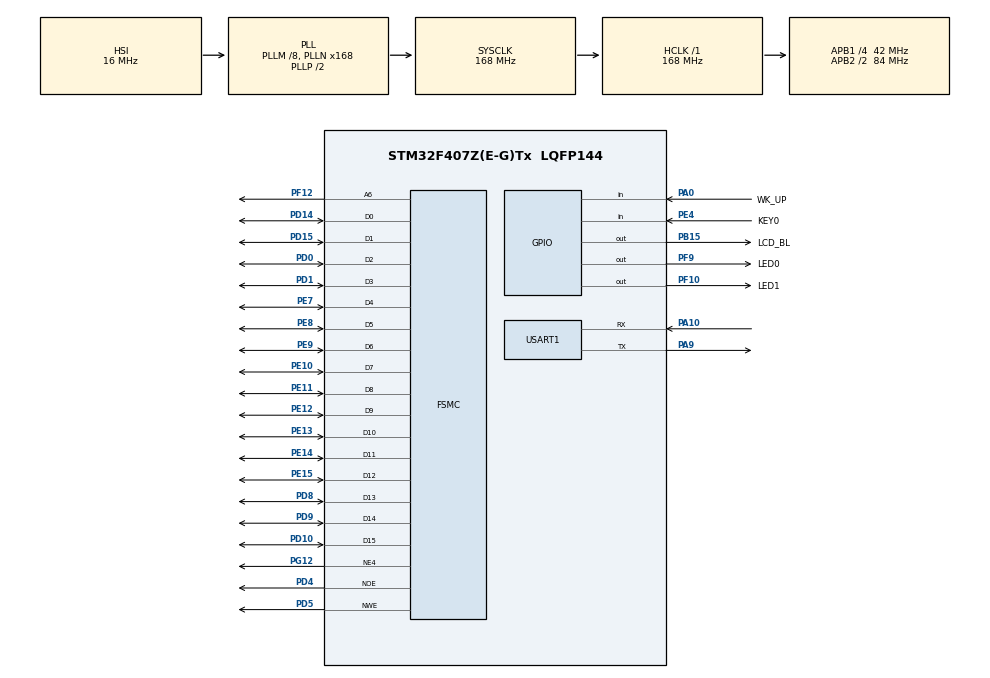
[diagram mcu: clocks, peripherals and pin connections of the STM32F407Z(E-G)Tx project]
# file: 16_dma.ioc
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Dma.Request0=USART1_TX
Dma.USART1_TX.0.Direction=DMA_MEMORY_TO_PERIPH
Dma.USART1_TX.0.FIFOMode=DMA_FIFOMODE_DISABLE
Dma.USART1_TX.0.Instance=DMA2_Stream7
Dma.USART1_TX.0.MemDataAlignment=DMA_MDATAALIGN_BYTE
Dma.USART1_TX.0.MemInc=DMA_MINC_ENABLE
Dma.USART1_TX.0.Mode=DMA_NORMAL
Dma.USART1_TX.0.PeriphDataAlignment=DMA_PDATAALIGN_BYTE
Dma.USART1_TX.0.PeriphInc=DMA_PINC_DISABLE
Dma.USART1_TX.0.Priority=DMA_PRIORITY_MEDIUM
FSMC.AddressSetupTime1=15
FSMC.BusTurnAroundDuration1=0
FSMC.DataSetupTime1=60
FSMC.ExtendedAddressSetupTime1=9
FSMC.ExtendedBusTurnAroundDuration1=0
FSMC.ExtendedDataSetupTime1=9
FSMC.ExtendedMode1=FSMC_EXTENDED_MODE_ENABLE
Mcu.Family=STM32F4
Mcu.Name=STM32F407Z(E-G)Tx
Mcu.Package=LQFP144
NVIC.DMA2_Stream7_IRQn=true\:0\:0\:false\:false\:true\:false\:true\:true
NVIC.PriorityGroup=NVIC_PRIORITYGROUP_2
NVIC.USART1_IRQn=true\:2\:2\:true\:false\:true\:true\:true\:true
PA0-WKUP.GPIO_Label=WK_UP
PA0-WKUP.GPIO_PuPd=GPIO_PULLDOWN
PA0-WKUP.Signal=GPIO_Input
PA10.GPIO_PuPd=GPIO_PULLUP
PA10.Mode=Asynchronous
PA10.Signal=USART1_RX
PA13.Mode=Serial_Wire
PA13.Signal=SYS_JTMS-SWDIO
PA14.Mode=Serial_Wire
PA14.Signal=SYS_JTCK-SWCLK
PA9.GPIO_PuPd=GPIO_PULLUP
PA9.Mode=Asynchronous
PA9.Signal=USART1_TX
PB15.GPIO_Label=LCD_BL
PB15.GPIO_PuPd=GPIO_PULLUP
PB15.GPIO_Speed=GPIO_SPEED_FREQ_VERY_HIGH
PB15.PinState=GPIO_PIN_SET
PB15.Signal=GPIO_Output
PC14-OSC32_IN.Mode=LSE-External-Oscillator
PC14-OSC32_IN.Signal=RCC_OSC32_IN
PC15-OSC32_OUT.Mode=LSE-External-Oscillator
PC15-OSC32_OUT.Signal=RCC_OSC32_OUT
PD0.Signal=FSMC_D2_DA2
PD1.Signal=FSMC_D3_DA3
PD10.Signal=FSMC_D15_DA15
PD14.Signal=FSMC_D0_DA0
PD15.Signal=FSMC_D1_DA1
PD4.Signal=FSMC_NOE
PD5.Signal=FSMC_NWE
PD8.Signal=FSMC_D13_DA13
PD9.Signal=FSMC_D14_DA14
PE10.Signal=FSMC_D7_DA7
PE11.Signal=FSMC_D8_DA8
PE12.Signal=FSMC_D9_DA9
PE13.Signal=FSMC_D10_DA10
PE14.Signal=FSMC_D11_DA11
PE15.Signal=FSMC_D12_DA12
PE4.GPIO_Label=KEY0
PE4.GPIO_PuPd=GPIO_PULLDOWN
PE4.Signal=GPIO_Input
PE7.Signal=FSMC_D4_DA4
PE8.Signal=FSMC_D5_DA5
PE9.Signal=FSMC_D6_DA6
PF10.GPIO_Label=LED1
PF10.GPIO_PuPd=GPIO_PULLDOWN
PF10.GPIO_Speed=GPIO_SPEED_FREQ_VERY_HIGH
PF10.PinState=GPIO_PIN_SET
PF10.Signal=GPIO_Output
PF12.Signal=FSMC_A6
PF9.GPIO_Label=LED0
PF9.GPIO_PuPd=GPIO_PULLDOWN
PF9.GPIO_Speed=GPIO_SPEED_FREQ_VERY_HIGH
PF9.PinState=GPIO_PIN_SET
PF9.Signal=GPIO_Output
PG12.Mode=NorPsramChipSelect4_1
PG12.Signal=FSMC_NE4
PH0-OSC_IN.Mode=HSE-External-Oscillator
PH0-OSC_IN.Signal=RCC_OSC_IN
PH1-OSC_OUT.Mode=HSE-External-Oscillator
PH1-OSC_OUT.Signal=RCC_OSC_OUT
ProjectManager.HeapSize=0x200
ProjectManager.StackSize=0x400
ProjectManager.TargetToolchain=STM32CubeIDE
RCC.48MHZClocksFreq_Value=84000000
RCC.AHBFreq_Value=168000000
RCC.APB1CLKDivider=RCC_HCLK_DIV4
RCC.APB1Freq_Value=42000000
RCC.APB1TimFreq_Value=84000000
RCC.APB2CLKDivider=RCC_HCLK_DIV2
RCC.APB2Freq_Value=84000000
RCC.APB2TimFreq_Value=168000000
RCC.CortexFreq_Value=168000000
RCC.HCLKFreq_Value=168000000
RCC.HSE_VALUE=25000000
RCC.HSI_VALUE=16000000
RCC.PLLM=8
RCC.PLLN=168
RCC.SYSCLKFreq_VALUE=168000000
RCC.SYSCLKSource=RCC_SYSCLKSOURCE_PLLCLK
RCC.VCOOutputFreq_Value=336000000
SH.FSMC_A6.0=FSMC_A6,A6_1
SH.FSMC_D0_DA0.0=FSMC_D0,16b-d1
SH.FSMC_D10_DA10.0=FSMC_D10,16b-d1
SH.FSMC_D11_DA11.0=FSMC_D11,16b-d1
SH.FSMC_D12_DA12.0=FSMC_D12,16b-d1
SH.FSMC_D13_DA13.0=FSMC_D13,16b-d1
SH.FSMC_D14_DA14.0=FSMC_D14,16b-d1
SH.FSMC_D15_DA15.0=FSMC_D15,16b-d1
SH.FSMC_D1_DA1.0=FSMC_D1,16b-d1
SH.FSMC_D2_DA2.0=FSMC_D2,16b-d1
SH.FSMC_D3_DA3.0=FSMC_D3,16b-d1
SH.FSMC_D4_DA4.0=FSMC_D4,16b-d1
SH.FSMC_D5_DA5.0=FSMC_D5,16b-d1
SH.FSMC_D6_DA6.0=FSMC_D6,16b-d1
SH.FSMC_D7_DA7.0=FSMC_D7,16b-d1
SH.FSMC_D8_DA8.0=FSMC_D8,16b-d1
SH.FSMC_D9_DA9.0=FSMC_D9,16b-d1
SH.FSMC_NOE.0=FSMC_NOE,Lcd1
SH.FSMC_NWE.0=FSMC_NWE,Lcd1
USART1.VirtualMode=VM_ASYNC
board=custom

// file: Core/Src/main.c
/* USER CODE BEGIN Header */
/**
 ****************************************************************************************************
 * @file        main.c
 * @author      ALIENTEK
 * @brief       DMA code
 * @license     Copyright (C) 2020-2032, ALIENTEK
 ****************************************************************************************************
 * @attention
 *
 * platform     : ALIENTEK M144-STM32F407 board
 * website      : https://www.alientek.com
 * forum        : http://www.openedv.com/forum.php
 *
 * change logs  :
 * version    data    notes
 * V1.0     20240410  the first version
 *
 ****************************************************************************************************
 */
/* USER CODE END Header */
#include "main.h"
#include "dma.h"
#include "usart.h"
#include "gpio.h"
#include "fsmc.h"

/* USER CODE BEGIN Includes */
#include "../../BSP/LED/led.h"
#include "../../BSP/KEY/key.h"
#include "../../BSP/LCD/lcd.h"
#include "../../SYSTEM/delay/delay.h"
/* USER CODE END Includes */

void SystemClock_Config(void);
/* USER CODE BEGIN PFP */

uint8_t temp[] = {"Hello, M144Z-M4 STM32F407!\r\n"};
uint8_t buf[sizeof(temp) * 200];
uint8_t uart_ready = 1;

/* USER CODE END PFP */

/* USER CODE BEGIN 0 */

void HAL_UART_TxCpltCallback(UART_HandleTypeDef *huart)
{
    /* The mark transmission is completed and the next transmission can be carried out */
    uart_ready = 1;
}

/* USER CODE END 0 */

int main(void)
{
  /* USER CODE BEGIN 1 */
    uint8_t t = 0;
    uint8_t key;
    uint16_t buf_index;
    uint8_t temp_index;
  /* USER CODE END 1 */

  /* MCU Configuration--------------------------------------------------------*/

  /* Reset of all peripherals, Initializes the Flash interface and the Systick. */
  HAL_Init();

  /* Configure the system clock */
  SystemClock_Config();

  /* USER CODE BEGIN SysInit */
  delay_init(168);
  /* USER CODE END SysInit */

  /* Initialize all configured peripherals */
  MX_GPIO_Init();
  MX_DMA_Init();
  MX_USART1_UART_Init();
  MX_FSMC_Init();
  /* USER CODE BEGIN 2 */

  lcd_init();

  lcd_show_string(30, 50, 200, 16, 16, "STM32", RED);
  lcd_show_string(30, 70, 200, 16, 16, "DMA TEST", RED);
  lcd_show_string(30, 90, 200, 16, 16, "ATOM@ALIENTEK", RED);
  lcd_show_string(30, 110, 200, 16, 16, "KEY0:Start", RED);

  for (buf_index=0; buf_index<200; buf_index++)
  {
      for (temp_index=0; temp_index<sizeof(temp); temp_index++)
      {
          buf[buf_index*sizeof(temp) + temp_index] = temp[temp_index];
      }
  }

  /* USER CODE END 2 */

  /* Infinite loop */
  while (1)
  {
      key = key_scan(0);

      if (key == KEY0_PRES)
      {
          if (uart_ready == 1)
          {
              uart_ready = 0;

              /* DMA transfers serial port data */
              HAL_UART_Transmit_DMA(&huart1, buf, sizeof(buf));
          }
      }

      if (++t == 20)
      {
          t = 0;
          LED0_TOGGLE();
      }
      HAL_Delay(10);
  }
}

void SystemClock_Config(void)
{
  RCC_OscInitTypeDef RCC_OscInitStruct = {0};
  RCC_ClkInitTypeDef RCC_ClkInitStruct = {0};

  /** Configure the main internal regulator output voltage
  */
  __HAL_RCC_PWR_CLK_ENABLE();
  __HAL_PWR_VOLTAGESCALING_CONFIG(PWR_REGULATOR_VOLTAGE_SCALE1);

  /** Initializes the RCC Oscillators according to the specified parameters
  * in the RCC_OscInitTypeDef structure.
  */
  RCC_OscInitStruct.OscillatorType = RCC_OSCILLATORTYPE_HSI;
  RCC_OscInitStruct.HSIState = RCC_HSI_ON;
  RCC_OscInitStruct.HSICalibrationValue = RCC_HSICALIBRATION_DEFAULT;
  RCC_OscInitStruct.PLL.PLLState = RCC_PLL_ON;
  RCC_OscInitStruct.PLL.PLLSource = RCC_PLLSOURCE_HSI;
  RCC_OscInitStruct.PLL.PLLM = 8;
  RCC_OscInitStruct.PLL.PLLN = 168;
  RCC_OscInitStruct.PLL.PLLP = RCC_PLLP_DIV2;
  RCC_OscInitStruct.PLL.PLLQ = 4;
  if (HAL_RCC_OscConfig(&RCC_OscInitStruct) != HAL_OK)
  {
    Error_Handler();
  }

  /** Initializes the CPU, AHB and APB buses clocks
  */
  RCC_ClkInitStruct.ClockType = RCC_CLOCKTYPE_HCLK|RCC_CLOCKTYPE_SYSCLK
                              |RCC_CLOCKTYPE_PCLK1|RCC_CLOCKTYPE_PCLK2;
  RCC_ClkInitStruct.SYSCLKSource = RCC_SYSCLKSOURCE_PLLCLK;
  RCC_ClkInitStruct.AHBCLKDivider = RCC_SYSCLK_DIV1;
  RCC_ClkInitStruct.APB1CLKDivider = RCC_HCLK_DIV4;
  RCC_ClkInitStruct.APB2CLKDivider = RCC_HCLK_DIV2;

  if (HAL_RCC_ClockConfig(&RCC_ClkInitStruct, FLASH_LATENCY_5) != HAL_OK)
  {
    Error_Handler();
  }
}

void Error_Handler(void)
{
  __disable_irq();
  while (1)
  {
  }
}
